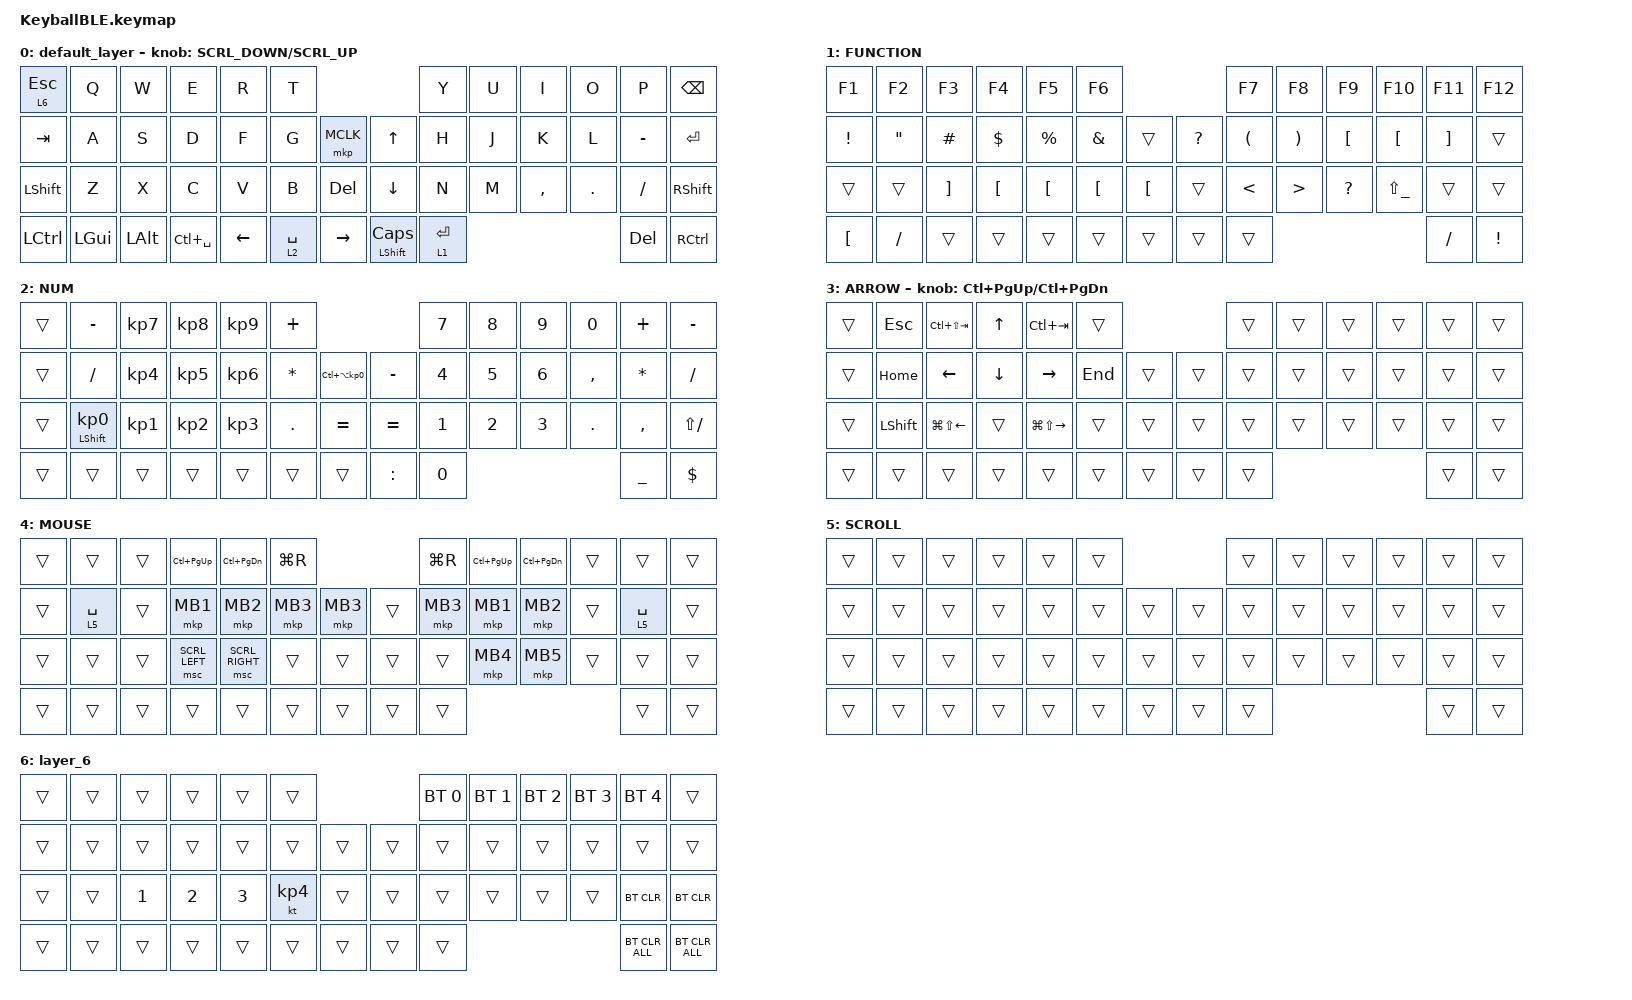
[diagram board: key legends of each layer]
#define ZMK_POINTING_DEFAULT_SCRL_VAL 120    // default: 10

#include <behaviors.dtsi>
#include <dt-bindings/zmk/bt.h>
#include <dt-bindings/zmk/keys.h>
#include <dt-bindings/zmk/pointing.h>

#define MOUSE 4
#define SCROLL 5
#define NUM 6

&mt {
    flavor = "balanced";
    quick-tap-ms = <0>;
};

/ {
    combos {
        compatible = "zmk,combos";

        double_quotation {
            bindings = <&kp DOUBLE_QUOTES>;
            key-positions = <20 21>;
        };
    };

    macros {
        to_layer_0: to_layer_0 {
            compatible = "zmk,behavior-macro-one-param";
            #binding-cells = <1>;
            bindings = <&to 0 &macro_param_1to1 &kp MACRO_PLACEHOLDER>;
            label = "TO_LAYER_0";
        };
    };

    behaviors {
        lt_to_layer_0: lt_to_layer_0 {
            compatible = "zmk,behavior-hold-tap";
            label = "LAYER_TAP_TO_0";
            bindings = <&mo>, <&to_layer_0>;

            #binding-cells = <2>;
            tapping-term-ms = <200>;
        };

        ROTATE: ROTATE {
            compatible = "zmk,behavior-sensor-rotate-var";
            label = "ROTATE";
            #sensor-binding-cells = <2>;
            bindings = <&msc>, <&msc>;

            tap-ms = <20>;
        };
    };

    keymap {
        compatible = "zmk,keymap";

        default_layer {
            bindings = <
&lt 6 ESC  &kp Q     &kp W     &kp E          &kp R           &kp T                                            &kp Y        &kp U  &kp I      &kp O    &kp P      &kp BSPC
&kp TAB    &kp A     &kp S     &kp D          &kp F           &kp G        &mkp MCLK          &kp UP_ARROW     &kp H        &kp J  &kp K      &kp L    &kp MINUS  &kp ENTER
&kp LSHFT  &kp Z     &kp X     &kp C          &kp V           &kp B        &kp DELETE         &kp DOWN_ARROW   &kp N        &kp M  &kp COMMA  &kp DOT  &kp FSLH   &kp RSHFT
&kp LCTRL  &kp LGUI  &kp LALT  &kp LC(SPACE)  &kp LEFT_ARROW  &lt 2 SPACE  &kp RIGHT_ARROW    &mt LSHIFT CAPS  &lt 1 ENTER                             &kp DEL    &kp RCTRL
            >;

            sensor-bindings = <&ROTATE SCRL_DOWN SCRL_UP>;
        };

        FUNCTION {
            bindings = <
&kp F1            &kp F2             &kp F3    &kp F4      &kp F5            &kp F6                                              &kp F7    &kp F8    &kp F9            &kp F10             &kp F11   &kp F12
&kp EXCLAMATION   &kp DOUBLE_QUOTES  &kp HASH  &kp DOLLAR  &kp PERCENT       &kp AMPERSAND     &trans              &kp QUESTION  &kp LPAR  &kp RPAR  &kp LEFT_BRACKET  &kp LEFT_BRACKET    &kp RBKT  &trans
&trans            &trans             &kp RBKT  &kp LBKT    &kp LEFT_BRACKET  &kp LEFT_BRACKET  &kp LEFT_BRACKET    &trans        &kp LT    &kp GT    &kp QMARK         &kp LS(UNDERSCORE)  &trans    &trans
&kp LEFT_BRACKET  &kp FSLH           &trans    &trans      &trans            &trans            &trans              &trans        &trans                                                    &kp FSLH  &kp EXCLAMATION
            >;
        };

        NUM {
            bindings = <
&trans  &kp MINUS                   &kp KP_NUMBER_7  &kp KP_NUMBER_8  &kp KP_NUMBER_9  &kp PLUS                                            &kp N7        &kp N8        &kp N9        &kp N0      &kp PLUS        &kp MINUS
&trans  &kp SLASH                   &kp KP_NUMBER_4  &kp KP_NUMBER_5  &kp KP_NUMBER_6  &kp ASTERISK  &kp LC(LA(KP_NUMBER_0))    &kp MINUS  &kp NUMBER_4  &kp N5        &kp NUMBER_6  &kp COMMA   &kp ASTERISK    &kp SLASH
&trans  &mt LEFT_SHIFT KP_NUMBER_0  &kp KP_NUMBER_1  &kp KP_NUMBER_2  &kp KP_NUMBER_3  &kp PERIOD    &kp EQUAL                  &kp EQUAL  &kp NUMBER_1  &kp NUMBER_2  &kp NUMBER_3  &kp PERIOD  &kp COMMA       &kp LS(SLASH)
&trans  &trans                      &trans           &trans           &trans           &trans        &trans                     &kp COLON  &kp N0                                                &kp UNDERSCORE  &kp DOLLAR
            >;
        };

        ARROW {
            bindings = <
&trans  &kp ESCAPE      &kp LC(LS(TAB))         &kp UP_ARROW    &kp LC(TAB)              &trans                     &trans  &trans  &trans  &trans  &trans  &trans
&trans  &kp HOME        &kp LEFT_ARROW          &kp DOWN_ARROW  &kp RIGHT_ARROW          &kp END  &trans    &trans  &trans  &trans  &trans  &trans  &trans  &trans
&trans  &kp LEFT_SHIFT  &kp LG(LS(LEFT_ARROW))  &trans          &kp LG(LS(RIGHT_ARROW))  &trans   &trans    &trans  &trans  &trans  &trans  &trans  &trans  &trans
&trans  &trans          &trans                  &trans          &trans                   &trans   &trans    &trans  &trans                          &trans  &trans
            >;

            sensor-bindings = <&inc_dec_kp LC(PAGE_UP) LC(PAGE_DOWN)>;
        };

        MOUSE {
            bindings = <
&trans  &trans       &trans  &kp LC(PAGE_UP)  &kp LC(PAGE_DOWN)  &kp LG(R)                      &kp LG(R)  &kp LC(PAGE_UP)  &kp LC(PAGE_DOWN)  &trans  &trans       &trans
&trans  &lt 5 SPACE  &trans  &mkp MB1         &mkp MB2           &mkp MB3   &mkp MB3    &trans  &mkp MB3   &mkp MB1         &mkp MB2           &trans  &lt 5 SPACE  &trans
&trans  &trans       &trans  &msc SCRL_LEFT   &msc SCRL_RIGHT    &trans     &trans      &trans  &trans     &mkp MB4         &mkp MB5           &trans  &trans       &trans
&trans  &trans       &trans  &trans           &trans             &trans     &trans      &trans  &trans                                                 &trans       &trans
            >;
        };

        SCROLL {
            bindings = <
&trans  &trans  &trans  &trans  &trans  &trans                    &trans  &trans  &trans  &trans  &trans  &trans
&trans  &trans  &trans  &trans  &trans  &trans  &trans    &trans  &trans  &trans  &trans  &trans  &trans  &trans
&trans  &trans  &trans  &trans  &trans  &trans  &trans    &trans  &trans  &trans  &trans  &trans  &trans  &trans
&trans  &trans  &trans  &trans  &trans  &trans  &trans    &trans  &trans                          &trans  &trans
            >;
        };

        layer_6 {
            bindings = <
&trans  &trans  &trans        &trans        &trans        &trans                       &bt BT_SEL 0  &bt BT_SEL 1  &bt BT_SEL 2  &bt BT_SEL 3  &bt BT_SEL 4    &trans
&trans  &trans  &trans        &trans        &trans        &trans     &trans    &trans  &trans        &trans        &trans        &trans        &trans          &trans
&trans  &trans  &kp NUMBER_1  &kp NUMBER_2  &kp NUMBER_3  &kt KP_N4  &trans    &trans  &trans        &trans        &trans        &trans        &bt BT_CLR      &bt BT_CLR
&trans  &trans  &trans        &trans        &trans        &trans     &trans    &trans  &trans                                                  &bt BT_CLR_ALL  &bt BT_CLR_ALL
            >;
        };
    };
};
